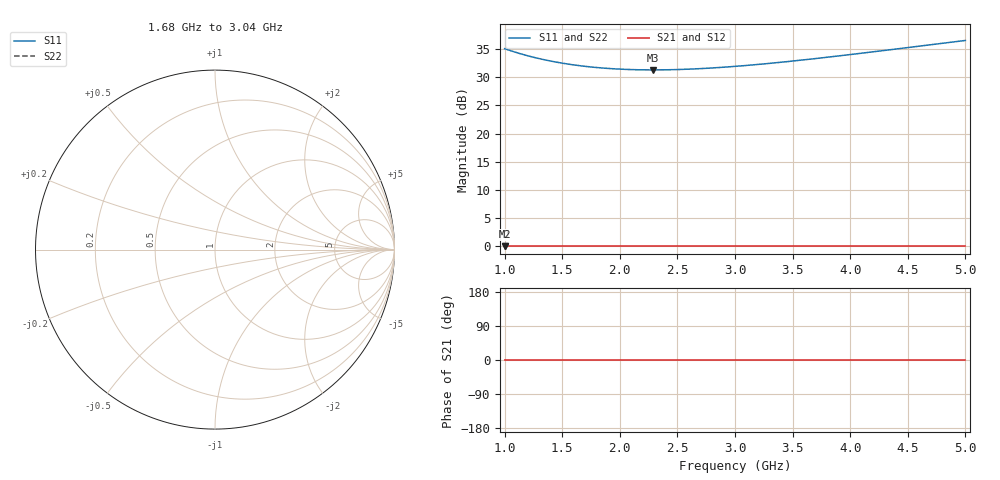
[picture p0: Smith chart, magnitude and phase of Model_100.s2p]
# GHZ S RI R 50
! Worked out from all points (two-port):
!   401 points, 1 GHz to 5 GHz, reference 50 ohm
!   highest |S21| = 0.00 dB at 1 GHz (marker M1); lowest = 0.0 dB at 1 GHz (marker M2)
!   |S21| within 3 dB of the highest: start of sweep to end of sweep
!   lowest |S11| = 31.3 dB at 2.29 GHz (marker M3)
!   |S11| at or under -10 dB: nowhere
!   |S22| runs from 31.3 to 36.6 dB; largest |S21 - S12| = 0
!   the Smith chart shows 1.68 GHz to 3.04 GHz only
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1  56.86 0  1 0  1 0  56.86 0
1.15  50.78 0  1 0  1 0  50.78 0
1.22  48.55 0  1 0  1 0  48.55 0
1.3  46.37 0  1 0  1 0  46.37 0
1.38  44.52 0  1 0  1 0  44.52 0
1.47  42.77 0  1 0  1 0  42.77 0
1.57  41.18 0  1 0  1 0  41.18 0
1.67  39.9 0  1 0  1 0  39.9 0
1.81  38.55 0  1 0  1 0  38.55 0
1.96  37.58 0  1 0  1 0  37.58 0
2.12  37 0  1 0  1 0  37 0
2.29  36.8 0  1 0  1 0  36.8 0
2.34  36.82 0  1 0  1 0  36.82 0
2.5  37.07 0  1 0  1 0  37.07 0
2.66  37.61 0  1 0  1 0  37.61 0
3  39.56 0  1 0  1 0  39.56 0
3.33  42.36 0  1 0  1 0  42.36 0
3.67  46.06 0  1 0  1 0  46.06 0
4  50.37 0  1 0  1 0  50.37 0
4.34  55.48 0  1 0  1 0  55.48 0
4.63  60.36 0  1 0  1 0  60.36 0
5  67.23 0  1 0  1 0  67.23 0
